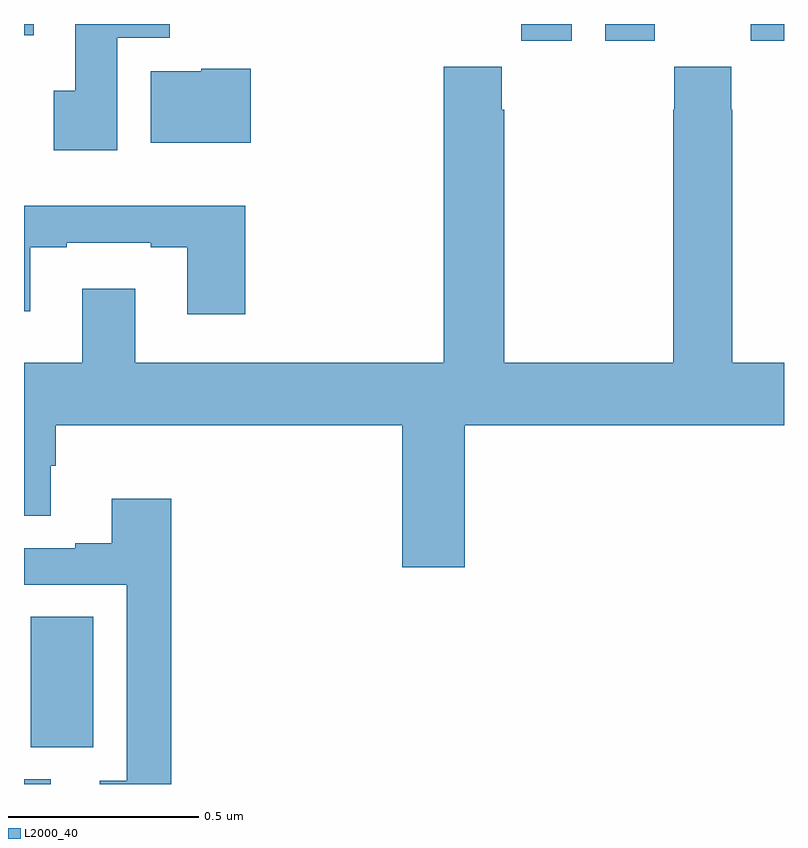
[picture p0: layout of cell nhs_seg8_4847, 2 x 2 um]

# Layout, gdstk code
import gdstk
lib = gdstk.Library(unit=1e-6, precision=1e-09)
def R(c, l, rs):  # rectangles x0, y0, x1, y1
    for r in rs: c.add(gdstk.rectangle(r[:2], r[2:], *l))
def P(c, l, *ps):  # polygons
    for p in ps: c.add(gdstk.Polygon(p, *l))
L2000_40 = (2000, 40)

nhs_seg8_4847 = lib.new_cell('nhs_seg8_4847')
R(nhs_seg8_4847, L2000_40, [(176,1104.9,176.071,1104.912), (176.018,1104.997,176.182,1105.34), (177.308,1106.856,177.442,1106.9), (177.53,1106.856,177.66,1106.9), (177.912,1106.856,178,1106.9), (176,1106.87,176.026,1106.9)])
P(nhs_seg8_4847, L2000_40, [(176.245,1106.864),(176.384,1106.864),(176.384,1106.9),(176.135,1106.9),(176.135,1106.724),(176.078,1106.724),(176.078,1106.568),(176.245,1106.568)],
  [(177.16,1105.844),(178,1105.844),(178,1106.008),(177.864,1106.008),(177.864,1106.675),(177.861,1106.675),(177.861,1106.788),(177.711,1106.788),(177.711,1106.675),(177.709,1106.675),(177.709,1106.008),(177.264,1106.008),(177.264,1106.675),(177.257,1106.675),(177.257,1106.788),(177.104,1106.788),(177.104,1106.008),(176.293,1106.008),(176.293,1106.203),(176.153,1106.203),(176.153,1106.008),(176,1106.008),(176,1105.606),(176.071,1105.606),(176.071,1105.738),(176.084,1105.738),(176.084,1105.844),(176.996,1105.844),(176.996,1105.47),(177.16,1105.47)],
  [(176.597,1106.782),(176.466,1106.782),(176.466,1106.776),(176.333,1106.776),(176.333,1106.588),(176.597,1106.588)],
  [(176.582,1106.422),(176,1106.422),(176,1106.144),(176.017,1106.144),(176.017,1106.313),(176.113,1106.313),(176.113,1106.325),(176.333,1106.325),(176.333,1106.313),(176.429,1106.313),(176.429,1106.136),(176.582,1106.136)],
  [(176.387,1105.651),(176.231,1105.651),(176.231,1105.534),(176.135,1105.534),(176.135,1105.521),(176,1105.521),(176,1105.425),(176.271,1105.425),(176.271,1104.909),(176.199,1104.909),(176.199,1104.9),(176.387,1104.9)])

lib.write_gds('nhs_seg8_4847.gds')
